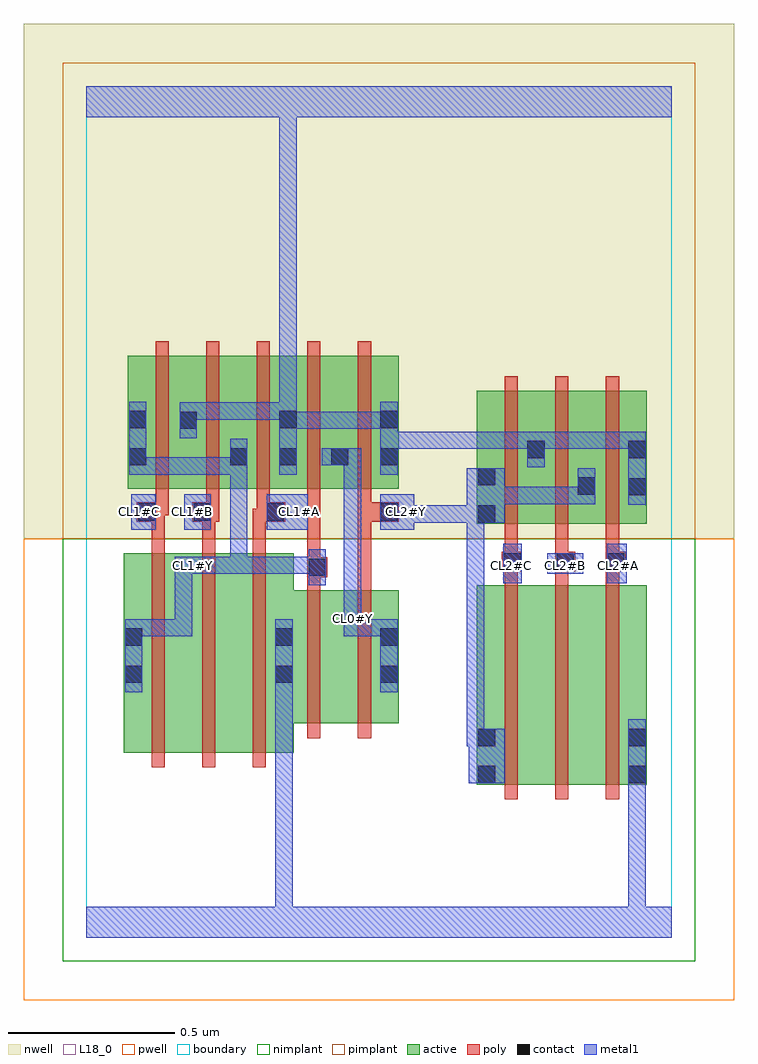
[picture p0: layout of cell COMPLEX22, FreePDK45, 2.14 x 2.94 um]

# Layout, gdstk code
import gdstk
lib = gdstk.Library(unit=1e-6, precision=1e-09)
def R(c, l, rs):  # rectangles x0, y0, x1, y1
    for r in rs: c.add(gdstk.rectangle(r[:2], r[2:], *l))
def A(c, l, x, y, w, h, nx, ny, dx, dy):  # array of equal rectangles
    R(c, l, [(x+i*dx, y+j*dy, x+i*dx+w, y+j*dy+h) for i in range(nx) for j in range(ny)])
active = (1, 0)
pwell = (2, 0)
nwell = (3, 0)
nimplant = (4, 0)
pimplant = (5, 0)
poly = (9, 0)
contact = (10, 0)
metal1 = (11, 0)
L18_0 = (18, 0)
boundary = (235, 0)

complex22 = lib.new_cell('COMPLEX22')
A(complex22, active, 1.322, 1.244, 0.06, 0.4, 3, 1, 0.152, 0)
A(complex22, active, 0.124, 1.35, 0.06, 0.294, 3, 1, 0.152, 0)
R(complex22, active, [(1.174,0.46,1.234,1.06), (1.174,0.46,1.354,1.06), (1.354,0.46,1.506,1.06), (1.506,0.46,1.686,1.06), (1.626,0.46,1.686,1.06), (0.112,0.556,0.172,1.156), (0.112,0.556,0.292,1.156), (0.292,0.556,0.444,1.156), (0.444,0.556,0.624,1.156), (0.564,0.644,0.76,1.044), (0.76,0.644,0.94,1.044), (0.564,0.756,0.624,1.044), (0.88,0.756,0.94,1.044), (1.174,1.244,1.234,1.644), (1.174,1.244,1.382,1.644), (1.322,1.244,1.534,1.644), (1.474,1.244,1.686,1.644), (0.124,1.35,0.336,1.75), (0.276,1.35,0.488,1.75), (0.428,1.35,0.636,1.75), (0.576,1.35,0.636,1.644), (0.576,1.35,0.792,1.75), (0.732,1.35,0.94,1.75), (0.732,1.35,0.792,1.644), (0.88,1.35,0.94,1.644)])
R(complex22, pwell, [(-0.188,-0.188,1.948,1.2)])
R(complex22, nwell, [(-0.188,1.2,1.948,2.748)])
R(complex22, nimplant, [(-0.072,-0.072,1.832,1.2)])
R(complex22, pimplant, [(-0.072,1.2,1.832,2.632)])
A(complex22, poly, 1.258, 0.416, 0.04, 0.688, 3, 1, 0.152, 0)
A(complex22, poly, 0.196, 0.512, 0.04, 0.688, 3, 1, 0.152, 0)
A(complex22, poly, 1.258, 1.064, 0.04, 0.076, 3, 1, 0.152, 0)
A(complex22, poly, 1.258, 1.12, 0.04, 0.12, 3, 1, 0.152, 0)
A(complex22, poly, 0.196, 1.16, 0.04, 0.13, 3, 1, 0.152, 0)
A(complex22, poly, 1.258, 1.2, 0.04, 0.488, 3, 1, 0.152, 0)
A(complex22, poly, 0.208, 1.27, 0.04, 0.076, 3, 1, 0.152, 0)
A(complex22, poly, 0.208, 1.306, 0.04, 0.488, 5, 1, 0.152, 0)
R(complex22, poly, [(0.664,0.6,0.704,1.088), (0.816,0.6,0.856,1.088), (0.664,1.048,0.704,1.124), (0.816,1.048,0.856,1.29), (0.664,1.084,0.724,1.144), (1.25,1.1,1.31,1.16), (1.258,1.1,1.298,1.14), (1.258,1.1,1.298,1.14), (1.41,1.1,1.45,1.14), (1.41,1.1,1.45,1.14), (1.41,1.1,1.47,1.16), (1.562,1.1,1.622,1.16), (0.664,1.104,0.704,1.144), (0.664,1.104,0.704,1.144), (0.664,1.104,0.704,1.346), (1.562,1.12,1.602,1.16), (1.562,1.12,1.602,1.16), (0.152,1.25,0.236,1.31), (0.318,1.25,0.4,1.31), (0.348,1.25,0.388,1.29), (0.348,1.25,0.388,1.29), (0.5,1.25,0.552,1.29), (0.512,1.25,0.552,1.29), (0.512,1.25,0.598,1.31), (0.816,1.25,0.856,1.29), (0.816,1.25,0.856,1.29), (0.816,1.25,0.94,1.31), (0.196,1.27,0.236,1.31), (0.196,1.27,0.248,1.31), (0.816,1.27,0.856,1.346)])
R(complex22, contact, [(1.178,0.464,1.23,0.516), (1.63,0.464,1.682,0.516), (1.178,0.576,1.23,0.628), (1.63,0.576,1.682,0.628), (0.116,0.766,0.168,0.818), (0.568,0.766,0.62,0.818), (0.884,0.766,0.936,0.818), (0.116,0.878,0.168,0.93), (0.568,0.878,0.62,0.93), (0.884,0.878,0.936,0.93), (0.668,1.088,0.72,1.14), (1.254,1.104,1.306,1.156), (1.414,1.104,1.466,1.156), (1.566,1.104,1.618,1.156), (1.178,1.248,1.23,1.3), (0.156,1.254,0.208,1.306), (0.322,1.254,0.374,1.306), (0.542,1.254,0.594,1.306), (0.884,1.254,0.936,1.306), (1.63,1.33,1.682,1.382), (1.478,1.332,1.53,1.384), (1.178,1.36,1.23,1.412), (0.128,1.42,0.18,1.472), (0.432,1.42,0.484,1.472), (0.58,1.42,0.632,1.472), (0.736,1.42,0.788,1.472), (0.884,1.42,0.936,1.472), (1.326,1.442,1.378,1.494), (1.63,1.442,1.682,1.494), (0.28,1.53,0.332,1.582), (0.128,1.532,0.18,1.584), (0.58,1.532,0.632,1.584), (0.884,1.532,0.936,1.584)])
R(complex22, metal1, [(0,0,1.76,0.092), (0.568,0.04,0.62,0.092), (0.568,0.04,0.62,0.092), (0.568,0.04,0.62,0.092), (0.568,0.04,0.62,0.092), (0.568,0.04,0.62,0.092), (0.568,0.04,0.62,0.092), (0.568,0.04,0.62,0.092), (0.568,0.04,0.62,0.092), (0.568,0.04,0.62,0.79), (1.63,0.04,1.682,0.488), (1.63,0.04,1.682,0.092), (1.63,0.04,1.682,0.092), (1.63,0.04,1.682,0.092), (1.63,0.04,1.682,0.092), (1.63,0.04,1.682,0.092), (1.63,0.04,1.682,0.092), (1.63,0.04,1.682,0.092), (1.63,0.04,1.682,0.092), (1.63,0.436,1.682,0.656), (1.15,0.464,1.258,0.628), (1.144,0.576,1.196,1.3), (1.144,0.576,1.202,0.628), (1.15,0.576,1.202,0.628), (0.116,0.738,0.168,0.958), (0.568,0.738,0.62,0.958), (0.884,0.738,0.936,0.958), (0.116,0.906,0.168,0.958), (0.116,0.906,0.168,0.958), (0.116,0.906,0.318,0.958), (0.266,0.906,0.318,0.958), (0.266,0.906,0.318,1.146), (0.774,0.906,0.936,0.958), (0.774,0.906,0.826,1.014), (0.884,0.906,0.936,0.958), (0.884,0.906,0.936,0.958), (0.884,0.906,0.936,0.958), (0.884,0.906,0.936,0.958), (0.774,0.962,0.826,1.472), (0.668,1.06,0.72,1.168), (1.254,1.066,1.31,1.184), (1.566,1.066,1.626,1.184), (0.266,1.094,0.374,1.146), (0.322,1.094,0.484,1.146), (0.322,1.094,0.374,1.146), (0.322,1.094,0.374,1.146), (0.432,1.094,0.484,1.146), (0.432,1.094,0.484,1.146), (0.432,1.094,0.484,1.146), (0.432,1.094,0.62,1.146), (0.432,1.094,0.484,1.444), (0.568,1.094,0.62,1.146), (0.568,1.094,0.72,1.146), (1.386,1.094,1.494,1.156), (0.134,1.226,0.208,1.334), (0.294,1.226,0.374,1.334), (0.542,1.226,0.666,1.334), (0.884,1.226,0.986,1.334), (0.934,1.248,1.148,1.3), (1.096,1.248,1.148,1.3), (1.096,1.248,1.196,1.3), (1.144,1.248,1.196,1.3), (1.144,1.248,1.196,1.3), (1.144,1.248,1.258,1.412), (1.63,1.302,1.682,1.522), (1.206,1.304,1.258,1.356), (1.206,1.304,1.258,1.356), (1.206,1.304,1.378,1.356), (1.326,1.304,1.378,1.356), (1.326,1.304,1.378,1.356), (1.326,1.304,1.378,1.356), (1.326,1.304,1.53,1.356), (1.478,1.304,1.53,1.412), (0.128,1.392,0.18,1.612), (0.128,1.392,0.18,1.444), (0.128,1.392,0.18,1.444), (0.128,1.392,0.374,1.444), (0.322,1.392,0.484,1.444), (0.322,1.392,0.374,1.444), (0.322,1.392,0.374,1.444), (0.322,1.392,0.374,1.444), (0.432,1.392,0.484,1.444), (0.432,1.392,0.484,1.444), (0.432,1.392,0.484,1.5), (0.58,1.392,0.632,1.612), (0.884,1.392,0.936,1.612), (1.326,1.414,1.378,1.522), (0.708,1.42,0.816,1.472), (0.764,1.42,0.816,1.472), (0.764,1.42,0.826,1.472), (0.884,1.47,1.268,1.522), (1.216,1.47,1.378,1.522), (1.216,1.47,1.268,1.522), (1.216,1.47,1.268,1.522), (1.216,1.47,1.268,1.522), (1.326,1.47,1.378,1.522), (1.326,1.47,1.378,1.522), (1.326,1.47,1.572,1.522), (1.52,1.47,1.682,1.522), (1.52,1.47,1.572,1.522), (1.52,1.47,1.572,1.522), (1.52,1.47,1.572,1.522), (0.28,1.502,0.332,1.61), (0.58,1.53,0.742,1.582), (0.69,1.53,0.742,1.582), (0.69,1.53,0.742,1.582), (0.69,1.53,0.742,1.582), (0.69,1.53,0.936,1.582), (0.884,1.53,0.936,1.582), (0.884,1.53,0.936,1.582), (0.28,1.558,0.332,1.61), (0.28,1.558,0.332,1.61), (0.28,1.558,0.484,1.61), (0.432,1.558,0.484,1.61), (0.432,1.558,0.484,1.61), (0.432,1.558,0.484,1.61), (0.432,1.558,0.632,1.61), (0.58,1.56,0.632,1.612), (0.58,1.56,0.632,1.612), (0.58,1.56,0.632,1.612), (0.58,1.56,0.632,1.612), (0.58,1.56,0.632,1.612), (0.58,1.56,0.632,1.612), (0.58,1.56,0.632,1.612), (0.58,1.56,0.632,1.612), (0.58,1.56,0.632,1.612), (0.58,1.56,0.632,1.612), (0.58,1.56,0.632,1.612), (0.58,1.56,0.632,1.612), (0.58,1.56,0.632,2.52), (0,2.468,1.76,2.56), (0.58,2.468,0.632,2.52), (0.58,2.468,0.632,2.52), (0.58,2.468,0.632,2.52), (0.58,2.468,0.632,2.52)])
A(complex22, L18_0, 1.254, 1.094, 0.052, 0.052, 3, 1, 0.16, 0)
A(complex22, L18_0, 0.294, 1.254, 0.052, 0.052, 3, 1, 0.32, 0)
R(complex22, L18_0, [(0,0,1.76,0.092), (0.568,0.04,0.62,0.092), (0.568,0.04,0.62,0.092), (0.568,0.04,0.62,0.092), (0.568,0.04,0.62,0.092), (0.568,0.04,0.62,0.092), (0.568,0.04,0.62,0.092), (0.568,0.04,0.62,0.092), (0.568,0.04,0.62,0.092), (0.568,0.04,0.62,0.79), (1.63,0.04,1.682,0.092), (1.63,0.04,1.682,0.092), (1.63,0.04,1.682,0.092), (1.63,0.04,1.682,0.092), (1.63,0.04,1.682,0.092), (1.63,0.04,1.682,0.092), (1.63,0.04,1.682,0.092), (1.63,0.04,1.682,0.092), (1.63,0.04,1.682,0.488), (1.63,0.436,1.682,0.656), (1.15,0.464,1.258,0.628), (1.144,0.576,1.202,0.628), (1.144,0.576,1.196,1.3), (1.15,0.576,1.202,0.628), (0.116,0.738,0.168,0.958), (0.568,0.738,0.62,0.958), (0.884,0.738,0.936,0.958), (0.116,0.906,0.168,0.958), (0.116,0.906,0.168,0.958), (0.116,0.906,0.318,0.958), (0.266,0.906,0.318,0.958), (0.266,0.906,0.318,1.146), (0.774,0.906,0.826,1.014), (0.774,0.906,0.936,0.958), (0.884,0.906,0.936,0.958), (0.884,0.906,0.936,0.958), (0.884,0.906,0.936,0.958), (0.884,0.906,0.936,0.958), (0.774,0.934,0.826,0.986), (0.774,0.962,0.826,1.472), (0.668,1.06,0.72,1.168), (1.254,1.066,1.31,1.184), (1.566,1.066,1.626,1.184), (0.266,1.094,0.374,1.146), (0.294,1.094,0.346,1.146), (0.322,1.094,0.374,1.146), (0.322,1.094,0.374,1.146), (0.322,1.094,0.484,1.146), (0.432,1.094,0.484,1.146), (0.432,1.094,0.484,1.146), (0.432,1.094,0.484,1.146), (0.432,1.094,0.484,1.444), (0.432,1.094,0.62,1.146), (0.568,1.094,0.62,1.146), (0.568,1.094,0.72,1.146), (1.386,1.094,1.494,1.156), (0.134,1.226,0.208,1.334), (0.294,1.226,0.374,1.334), (0.542,1.226,0.666,1.334), (0.884,1.226,0.986,1.334), (0.934,1.248,1.148,1.3), (1.096,1.248,1.148,1.3), (1.096,1.248,1.196,1.3), (1.144,1.248,1.196,1.3), (1.144,1.248,1.196,1.3), (1.144,1.248,1.258,1.412), (0.134,1.254,0.186,1.306), (1.63,1.302,1.682,1.522), (1.206,1.304,1.258,1.356), (1.206,1.304,1.258,1.356), (1.206,1.304,1.378,1.356), (1.326,1.304,1.378,1.356), (1.326,1.304,1.378,1.356), (1.326,1.304,1.378,1.356), (1.326,1.304,1.53,1.356), (1.478,1.304,1.53,1.412), (0.128,1.392,0.18,1.612), (0.128,1.392,0.18,1.444), (0.128,1.392,0.18,1.444), (0.128,1.392,0.374,1.444), (0.322,1.392,0.374,1.444), (0.322,1.392,0.374,1.444), (0.322,1.392,0.374,1.444), (0.322,1.392,0.484,1.444), (0.432,1.392,0.484,1.444), (0.432,1.392,0.484,1.444), (0.432,1.392,0.484,1.5), (0.58,1.392,0.632,1.612), (0.884,1.392,0.936,1.612), (1.326,1.414,1.378,1.522), (0.708,1.42,0.816,1.472), (0.764,1.42,0.816,1.472), (0.764,1.42,0.826,1.472), (0.884,1.47,1.268,1.522), (1.216,1.47,1.268,1.522), (1.216,1.47,1.268,1.522), (1.216,1.47,1.268,1.522), (1.216,1.47,1.378,1.522), (1.326,1.47,1.378,1.522), (1.326,1.47,1.378,1.522), (1.326,1.47,1.572,1.522), (1.52,1.47,1.572,1.522), (1.52,1.47,1.572,1.522), (1.52,1.47,1.572,1.522), (1.52,1.47,1.682,1.522), (0.28,1.502,0.332,1.61), (0.58,1.53,0.742,1.582), (0.69,1.53,0.742,1.582), (0.69,1.53,0.742,1.582), (0.69,1.53,0.742,1.582), (0.69,1.53,0.936,1.582), (0.884,1.53,0.936,1.582), (0.884,1.53,0.936,1.582), (0.28,1.558,0.332,1.61), (0.28,1.558,0.332,1.61), (0.28,1.558,0.484,1.61), (0.432,1.558,0.484,1.61), (0.432,1.558,0.484,1.61), (0.432,1.558,0.484,1.61), (0.432,1.558,0.632,1.61), (0.58,1.56,0.632,1.612), (0.58,1.56,0.632,1.612), (0.58,1.56,0.632,1.612), (0.58,1.56,0.632,1.612), (0.58,1.56,0.632,1.612), (0.58,1.56,0.632,1.612), (0.58,1.56,0.632,1.612), (0.58,1.56,0.632,1.612), (0.58,1.56,0.632,1.612), (0.58,1.56,0.632,1.612), (0.58,1.56,0.632,1.612), (0.58,1.56,0.632,1.612), (0.58,1.56,0.632,2.52), (0,2.468,1.76,2.56), (0.58,2.468,0.632,2.52), (0.58,2.468,0.632,2.52), (0.58,2.468,0.632,2.52), (0.58,2.468,0.632,2.52)])
R(complex22, boundary, [(0,0,1.76,2.56)])
complex22.add(gdstk.Label('CL0#Y', (0.8,0.96), layer=11, texttype=0))
complex22.add(gdstk.Label('CL1#A', (0.64,1.28), layer=11, texttype=0))
complex22.add(gdstk.Label('CL1#B', (0.32,1.28), layer=11, texttype=0))
complex22.add(gdstk.Label('CL1#C', (0.16,1.28), layer=11, texttype=0))
complex22.add(gdstk.Label('CL1#Y', (0.32,1.12), layer=11, texttype=0))
complex22.add(gdstk.Label('CL2#A', (1.6,1.12), layer=11, texttype=0))
complex22.add(gdstk.Label('CL2#B', (1.44,1.12), layer=11, texttype=0))
complex22.add(gdstk.Label('CL2#C', (1.28,1.12), layer=11, texttype=0))
complex22.add(gdstk.Label('CL2#Y', (0.96,1.28), layer=11, texttype=0))

lib.write_gds('COMPLEX22.gds')
